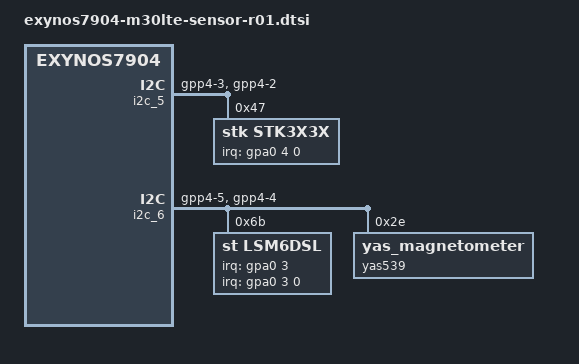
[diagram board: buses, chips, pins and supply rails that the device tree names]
/*
 * SAMSUNG UNIVERSAL7885 board device tree source
 *
 * Copyright (c) 2013 Samsung Electronics Co., Ltd.
 *		http://www.samsung.com
 *
 * This program is free software; you can redistribute it and/or modify
 * it under the terms of the GNU General Public License version 2 as
 * published by the Free Software Foundation.
 */

/ {

	pinctrl@139B0000 {
		i2c5_bus: i2c5-bus {
			samsung,pins = "gpp4-3", "gpp4-2";
			samsung,pin-function = <2>;
			samsung,pin-pud = <0>;
			samsung,pin-drv = <0>;
		};

		i2c6_bus: i2c6-bus {
			samsung,pins = "gpp4-5", "gpp4-4";
			samsung,pin-function = <2>;
			samsung,pin-pud = <0>;
			samsung,pin-drv = <0>;
		};

	};

	i2c_5:i2c@13880000 {
		status = "okay";
		#address-cells = <1>;
		#size-cells = <0>;
		samsung,i2c-sda-delay = <100>;
		samsung,i2c-max-bus-freq = <400000>;
		pinctrl-names = "default";
		pinctrl-0 = <&i2c5_bus>;

		stk@47 {
			compatible = "stk,stk3x3x";
			reg = <0x47>;
			interrupt-parent = <&gpa0>;
			interrupts = <4 0 0>;
			stk,gpio_int = <&gpa0 4 0>;
			stk,prox_thd_h = <150>;
			stk,prox_thd_l = <140>;
			stk,sunlight_thd_h = <150>;
			stk,sunlight_thd_l = <140>;
			stk,first_cal_adc_limit = <120>;
			stk,first_cal_thd_h = <150>;
			stk,first_cal_thd_l = <140>;
		};
	};

	i2c_6: i2c@13890000 {
		status = "okay";
		#address-cells = <1>;
		#size-cells = <0>;
		samsung,i2c-sda-delay = <100>;
		samsung,i2c-max-bus-freq = <400000>;
		pinctrl-names = "default";
		pinctrl-0 = <&i2c6_bus>;

		lsm6dsl@6b {
			compatible = "st,lsm6dsl";
			reg = <0x6b>;
			interrupt-parent = <&gpa0>;
			interrupts = <3 0 0>;
			st,irq_gpio = <&gpa0 3 0>;
			st,orientation = <1 0 1 2 1 1 1 1 2>;
		};

		yas539@2e {
			compatible = "yas_magnetometer";
			reg = <0x2e>;
			yas,orientation = <6>;
			yas,softiron = <9593 45 221 175 10436 57 378 26 10803>;
			yas,softiron_sign = <2 2 0 2 2 0 2 2 2>;
		};
	};
};
